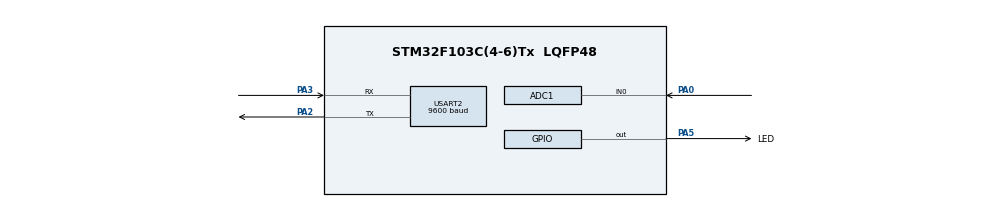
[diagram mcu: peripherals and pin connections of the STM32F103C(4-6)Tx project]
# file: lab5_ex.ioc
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ADC1.Channel-0\#ChannelRegularConversion=ADC_CHANNEL_0
ADC1.ContinuousConvMode=ENABLE
ADC1.NbrOfConversionFlag=1
ADC1.Rank-0\#ChannelRegularConversion=1
ADC1.SamplingTime-0\#ChannelRegularConversion=ADC_SAMPLETIME_1CYCLE_5
ADC1.master=1
Mcu.Family=STM32F1
Mcu.Name=STM32F103C(4-6)Tx
Mcu.Package=LQFP48
NVIC.PriorityGroup=NVIC_PRIORITYGROUP_4
NVIC.TIM2_IRQn=true\:0\:0\:false\:false\:true\:true\:true\:true
NVIC.USART2_IRQn=true\:0\:0\:false\:false\:true\:true\:true\:true
PA0-WKUP.Signal=ADCx_IN0
PA2.Mode=Asynchronous
PA2.Signal=USART2_TX
PA3.Mode=Asynchronous
PA3.Signal=USART2_RX
PA5.GPIO_Label=LED
PA5.Signal=GPIO_Output
ProjectManager.HeapSize=0x200
ProjectManager.StackSize=0x400
ProjectManager.TargetToolchain=STM32CubeIDE
RCC.APB1Freq_Value=8000000
RCC.APB2Freq_Value=8000000
SH.ADCx_IN0.0=ADC1_IN0,IN0
TIM2.Period=7999
TIM2.Prescaler=9
USART2.BaudRate=9600
USART2.VirtualMode=VM_ASYNC
VP_TIM2_VS_ClockSourceINT.Mode=Internal
board=custom

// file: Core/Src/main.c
/* USER CODE BEGIN Header */
/**
  ******************************************************************************
  * @file           : main.c
  * @brief          : Main program body
  ******************************************************************************
  * @attention
  *
  * Copyright (c) 2023 STMicroelectronics.
  * All rights reserved.
  *
  * This software is licensed under terms that can be found in the LICENSE file
  * in the root directory of this software component.
  * If no LICENSE file comes with this software, it is provided AS-IS.
  *
  ******************************************************************************
  */
/* USER CODE END Header */
#include "main.h"

/* USER CODE BEGIN Includes */
#include "softwareTimer.h"
/* USER CODE END Includes */

ADC_HandleTypeDef hadc1;

TIM_HandleTypeDef htim2;

UART_HandleTypeDef huart2;

void SystemClock_Config(void);
static void MX_GPIO_Init(void);
static void MX_ADC1_Init(void);
static void MX_USART2_UART_Init(void);
static void MX_TIM2_Init(void);

/* USER CODE BEGIN 0 */
#define MAX_BUFFER_SIZE 30
uint8_t temp = 0;
uint8_t buffer[MAX_BUFFER_SIZE];
uint8_t index_buffer = 0;
uint8_t buffer_flag = 0;
uint8_t command_flag = 0;
uint8_t first_read_flag = 0;
uint8_t command_data;
uint8_t check = 0;
uint32_t ADC_value;
uint8_t status = 0;
uint32_t old_ADC = 0;
#define INIT 0

void HAL_UART_RxCpltCallback(UART_HandleTypeDef *huart){
	if(huart->Instance == USART2){
		buffer[index_buffer++] = temp;
		if(index_buffer == 30) index_buffer = 0;

		buffer_flag = 1;
		HAL_UART_Transmit(&huart2, &temp, 1, 1000);
		HAL_UART_Receive_IT(&huart2, &temp, 1);
	}
}

void command_parser_fsm(){
	if(check == 0){
		switch(status){
		case INIT:
			if(temp == '!'){
				status = '!';
			}else{
				status = INIT;
			}
			break;
		case '!':
			if(temp == 'R'){
				status = 'R';
			}else{
				status = INIT;
			}
			break;
		case 'R':
			if(temp == 'S'){
				status = 'S';
			}else{
				status = INIT;
			}
			break;
		case 'S':
			if(temp == 'T'){
				status = 'T';
			}else{
				status = INIT;
			}
			break;
		case 'T':
			if(temp == '#'){
				flag0 = 1;
				command_flag = 1;
				first_read_flag = 1;
				check = 1;
				status = INIT;
			}else{
				status = INIT;
			}
			break;
		default:
			break;
		}
	}else{
		switch(status){
		case INIT:
			if(temp == '!'){
				status = '!';
			}else{
				status = INIT;
			}
			break;
		case '!':
			if(temp == 'O'){
				status = 'O';
			}else{
				status = INIT;
			}
			break;
		case 'O':
			if(temp == 'K'){
				status = 'K';
			}else{
				status = INIT;
			}
			break;
		case 'K':
			if(temp == '#'){
				flag0 = 0;
				command_flag = 0;
				check = 0;
				status = INIT;
			}else{
				status = INIT;
			}
			break;
		default:
			break;
		}
	}
}

void uart_communication_fsm(){
	if(command_flag == 1){
		if(flag0 == 1){
			uint8_t str[]="!ADC=";
			uint8_t endline[] = "#\r";
			char *buffer2;
			if(first_read_flag == 1){
				ADC_value = HAL_ADC_GetValue(&hadc1);
				old_ADC = ADC_value;
				first_read_flag = 0;
			}
			HAL_UART_Transmit(&huart2, str, sizeof(str), 1000);
			HAL_UART_Transmit(&huart2, buffer2, sprintf(buffer, "%lu\n", ADC_value), 1000);
			HAL_UART_Transmit(&huart2, endline, sizeof(endline), 1000);
			setTimer0(3000);
		}
	}
}
/* USER CODE END 0 */

int main(void)
{

  /* MCU Configuration--------------------------------------------------------*/

  /* Reset of all peripherals, Initializes the Flash interface and the Systick. */
  HAL_Init();

  /* Configure the system clock */
  SystemClock_Config();

  /* Initialize all configured peripherals */
  MX_GPIO_Init();
  MX_ADC1_Init();
  MX_USART2_UART_Init();
  MX_TIM2_Init();
  /* USER CODE BEGIN 2 */
  HAL_UART_Receive_IT(&huart2, &temp, 1);
  HAL_ADC_Start(&hadc1);
  HAL_TIM_Base_Start_IT(&htim2);
  /* USER CODE END 2 */

  /* Infinite loop */
  /* USER CODE BEGIN WHILE */
  setTimerTest(500);
  while (1)
  {
	  if(flagTest == 1){
		  HAL_GPIO_TogglePin(LED_GPIO_Port, LED_Pin);
		  setTimerTest(500);
	  }
	  if(buffer_flag == 1){
		  command_parser_fsm();
		  buffer_flag = 0;
	  }
	  uart_communication_fsm();
    /* USER CODE END WHILE */

  }
}

void SystemClock_Config(void)
{
  RCC_OscInitTypeDef RCC_OscInitStruct = {0};
  RCC_ClkInitTypeDef RCC_ClkInitStruct = {0};
  RCC_PeriphCLKInitTypeDef PeriphClkInit = {0};

  /** Initializes the RCC Oscillators according to the specified parameters
  * in the RCC_OscInitTypeDef structure.
  */
  RCC_OscInitStruct.OscillatorType = RCC_OSCILLATORTYPE_HSI;
  RCC_OscInitStruct.HSIState = RCC_HSI_ON;
  RCC_OscInitStruct.HSICalibrationValue = RCC_HSICALIBRATION_DEFAULT;
  RCC_OscInitStruct.PLL.PLLState = RCC_PLL_NONE;
  if (HAL_RCC_OscConfig(&RCC_OscInitStruct) != HAL_OK)
  {
    Error_Handler();
  }

  /** Initializes the CPU, AHB and APB buses clocks
  */
  RCC_ClkInitStruct.ClockType = RCC_CLOCKTYPE_HCLK|RCC_CLOCKTYPE_SYSCLK
                              |RCC_CLOCKTYPE_PCLK1|RCC_CLOCKTYPE_PCLK2;
  RCC_ClkInitStruct.SYSCLKSource = RCC_SYSCLKSOURCE_HSI;
  RCC_ClkInitStruct.AHBCLKDivider = RCC_SYSCLK_DIV1;
  RCC_ClkInitStruct.APB1CLKDivider = RCC_HCLK_DIV1;
  RCC_ClkInitStruct.APB2CLKDivider = RCC_HCLK_DIV1;

  if (HAL_RCC_ClockConfig(&RCC_ClkInitStruct, FLASH_LATENCY_0) != HAL_OK)
  {
    Error_Handler();
  }
  PeriphClkInit.PeriphClockSelection = RCC_PERIPHCLK_ADC;
  PeriphClkInit.AdcClockSelection = RCC_ADCPCLK2_DIV2;
  if (HAL_RCCEx_PeriphCLKConfig(&PeriphClkInit) != HAL_OK)
  {
    Error_Handler();
  }
}

static void MX_ADC1_Init(void)
{

  ADC_ChannelConfTypeDef sConfig = {0};

  /** Common config
  */
  hadc1.Instance = ADC1;
  hadc1.Init.ScanConvMode = ADC_SCAN_DISABLE;
  hadc1.Init.ContinuousConvMode = ENABLE;
  hadc1.Init.DiscontinuousConvMode = DISABLE;
  hadc1.Init.ExternalTrigConv = ADC_SOFTWARE_START;
  hadc1.Init.DataAlign = ADC_DATAALIGN_RIGHT;
  hadc1.Init.NbrOfConversion = 1;
  if (HAL_ADC_Init(&hadc1) != HAL_OK)
  {
    Error_Handler();
  }

  /** Configure Regular Channel
  */
  sConfig.Channel = ADC_CHANNEL_0;
  sConfig.Rank = ADC_REGULAR_RANK_1;
  sConfig.SamplingTime = ADC_SAMPLETIME_1CYCLE_5;
  if (HAL_ADC_ConfigChannel(&hadc1, &sConfig) != HAL_OK)
  {
    Error_Handler();
  }

}

static void MX_TIM2_Init(void)
{

  TIM_ClockConfigTypeDef sClockSourceConfig = {0};
  TIM_MasterConfigTypeDef sMasterConfig = {0};

  htim2.Instance = TIM2;
  htim2.Init.Prescaler = 9;
  htim2.Init.CounterMode = TIM_COUNTERMODE_UP;
  htim2.Init.Period = 7999;
  htim2.Init.ClockDivision = TIM_CLOCKDIVISION_DIV1;
  htim2.Init.AutoReloadPreload = TIM_AUTORELOAD_PRELOAD_DISABLE;
  if (HAL_TIM_Base_Init(&htim2) != HAL_OK)
  {
    Error_Handler();
  }
  sClockSourceConfig.ClockSource = TIM_CLOCKSOURCE_INTERNAL;
  if (HAL_TIM_ConfigClockSource(&htim2, &sClockSourceConfig) != HAL_OK)
  {
    Error_Handler();
  }
  sMasterConfig.MasterOutputTrigger = TIM_TRGO_RESET;
  sMasterConfig.MasterSlaveMode = TIM_MASTERSLAVEMODE_DISABLE;
  if (HAL_TIMEx_MasterConfigSynchronization(&htim2, &sMasterConfig) != HAL_OK)
  {
    Error_Handler();
  }

}

static void MX_USART2_UART_Init(void)
{

  huart2.Instance = USART2;
  huart2.Init.BaudRate = 9600;
  huart2.Init.WordLength = UART_WORDLENGTH_8B;
  huart2.Init.StopBits = UART_STOPBITS_1;
  huart2.Init.Parity = UART_PARITY_NONE;
  huart2.Init.Mode = UART_MODE_TX_RX;
  huart2.Init.HwFlowCtl = UART_HWCONTROL_NONE;
  huart2.Init.OverSampling = UART_OVERSAMPLING_16;
  if (HAL_UART_Init(&huart2) != HAL_OK)
  {
    Error_Handler();
  }

}

static void MX_GPIO_Init(void)
{
  GPIO_InitTypeDef GPIO_InitStruct = {0};

  /* GPIO Ports Clock Enable */
  __HAL_RCC_GPIOA_CLK_ENABLE();

  /*Configure GPIO pin Output Level */
  HAL_GPIO_WritePin(LED_GPIO_Port, LED_Pin, GPIO_PIN_RESET);

  /*Configure GPIO pin : LED_Pin */
  GPIO_InitStruct.Pin = LED_Pin;
  GPIO_InitStruct.Mode = GPIO_MODE_OUTPUT_PP;
  GPIO_InitStruct.Pull = GPIO_NOPULL;
  GPIO_InitStruct.Speed = GPIO_SPEED_FREQ_LOW;
  HAL_GPIO_Init(LED_GPIO_Port, &GPIO_InitStruct);

}

/* USER CODE BEGIN 4 */
void HAL_TIM_PeriodElapsedCallback(TIM_HandleTypeDef *htim){
	timerRun();
}
/* USER CODE END 4 */

void Error_Handler(void)
{
  __disable_irq();
  while (1)
  {
  }
}
